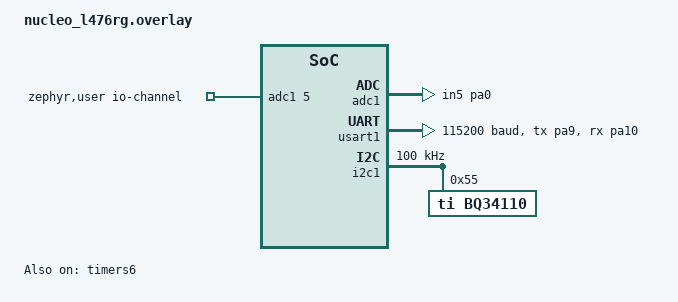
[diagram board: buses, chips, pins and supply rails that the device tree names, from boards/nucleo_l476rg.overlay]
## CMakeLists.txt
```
# SPDX-License-Identifier: Apache-2.0
cmake_minimum_required(VERSION 3.20.0)

# SD card bus: native SDMMC interface default (or spi if overridden: -DSD_BUS=spi)
set(SD_BUS "sdmmc" CACHE STRING "SD card bus: spi or sdmmc")
option(FORMAT_SD_CARD "Build one-shot SD exFAT formatter instead of recorder" OFF)

string(REPLACE "/" "_" BOARD_FLAT "${BOARD}")
set(SD_OVERLAY ${CMAKE_CURRENT_SOURCE_DIR}/sd/${SD_BUS}_${BOARD_FLAT}.overlay)
if(NOT EXISTS ${SD_OVERLAY})
  # Zephyr 4.x qualified board targets append the SoC qualifier, while this
  # application keeps the shared overlay named after the board itself.
  string(REGEX REPLACE "/.*$" "" BOARD_NAME "${BOARD}")
  set(SD_OVERLAY ${CMAKE_CURRENT_SOURCE_DIR}/sd/${SD_BUS}_${BOARD_NAME}.overlay)
endif()
if(EXISTS ${SD_OVERLAY})
  list(APPEND EXTRA_DTC_OVERLAY_FILE ${SD_OVERLAY})
else()
  message(WARNING "No SD overlay ${SD_OVERLAY}; add one or define the 'SD' disk yourself")
endif()

# Add application-local devicetree bindings (including the BQ34110 node).
list(APPEND DTS_ROOT ${CMAKE_CURRENT_SOURCE_DIR})

find_package(Zephyr REQUIRED HINTS $ENV{ZEPHYR_BASE})
project(wildsonic_stm32_recorder)

if(FORMAT_SD_CARD)
  message(WARNING "FORMAT_SD_CARD=ON: formatter firmware WILL ERASE the SD card on boot")
  target_sources(app PRIVATE src/format_sd.c)
else()
  execute_process(
    COMMAND git -C ${CMAKE_CURRENT_SOURCE_DIR}/.. rev-parse --short=12 HEAD
    OUTPUT_VARIABLE WILDSONIC_GIT_COMMIT
    OUTPUT_STRIP_TRAILING_WHITESPACE
    ERROR_QUIET
  )
  if(NOT WILDSONIC_GIT_COMMIT)
    set(WILDSONIC_GIT_COMMIT "unknown")
  endif()
  execute_process(
    COMMAND git -C ${CMAKE_CURRENT_SOURCE_DIR}/.. rev-parse --abbrev-ref HEAD
    OUTPUT_VARIABLE WILDSONIC_GIT_BRANCH
    OUTPUT_STRIP_TRAILING_WHITESPACE
    ERROR_QUIET
  )
  if(NOT WILDSONIC_GIT_BRANCH)
    set(WILDSONIC_GIT_BRANCH "unknown")
  endif()

  target_sources(app PRIVATE
    src/main.c
    src/recorder.c
    src/wav.c
    src/audio_in_stm32l4.c
    src/audio_format.c
    src/rate_check.c
    src/psram_is66wvs.c
    src/psram_staging.c
    src/dsp.c
    src/rtc_sleep.c
    src/rtc_calendar.c
    src/scheduler.c
    src/console.c
    src/config_store.c
    src/battery_monitor.c
    src/led_indicator.c
    src/ble_comm.c
    src/scheduler_retention.c
    src/solar_calculator.c
    src/sd_resilient.c
    src/sd_fault_inject.c
    src/wildsonic_trace.c
    src/retained_reboot.c
    src/system_assert.c
    src/watchdog.c
  )
  target_compile_definitions(app PRIVATE
    WILDSONIC_GIT_COMMIT=\"${WILDSONIC_GIT_COMMIT}\"
    WILDSONIC_GIT_BRANCH=\"${WILDSONIC_GIT_BRANCH}\"
  )
  target_sources_ifdef(CONFIG_WILDSONIC_BENCHMARKS app PRIVATE src/psram_benchmark.c)
  target_sources_ifdef(CONFIG_WILDSONIC_BENCHMARKS app PRIVATE src/sd_benchmark.c)
  zephyr_include_directories(src)
endif()
```

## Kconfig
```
# SPDX-License-Identifier: Apache-2.0
mainmenu "WildSonic STM32 mono recorder"

menu "Audio recorder"

config AUDIO_SRC_ADC_STM32L4
	bool "STM32L4 internal ADC: TIM6 trigger + hardware oversampling + DMA"
	default y
	depends on SOC_SERIES_STM32L4X
	select DMA
	select PINCTRL
	select USE_STM32_LL_ADC
	select USE_STM32_LL_TIM

choice AUDIO_SAMPLE_FORMAT
	prompt "Audio sample format"
	default AUDIO_SAMPLE_BITS_16

config AUDIO_SAMPLE_BITS_16
	bool "16-bit signed integer PCM (Format Tag 1)"
	help
	  Standard 16-bit signed integer PCM (2 bytes/sample). Baseline profile.
	  At 192 kHz mono, data rate is 384,000 bytes/s.

config AUDIO_SAMPLE_BITS_32
	bool "32-bit signed integer PCM (Format Tag 1)"
	help
	  32-bit signed integer PCM (4 bytes/sample).
	  At 192 kHz mono, data rate is 768,000 bytes/s.
	  Acquisition uses STM32L4 ADC (12-bit + 8x hardware oversampling = 15-bit ENOB)
	  left-aligned into signed 32-bit integer container.
endchoice

config AUDIO_SAMPLE_BITS
	int
	default 16 if AUDIO_SAMPLE_BITS_16
	default 32 if AUDIO_SAMPLE_BITS_32

config AUDIO_SAMPLE_RATE
	int "Requested sample rate (Hz)"
	default 48000
	help
	  Requested audio sample rate in Hz.
	  Default is 192,000 samples/s as required for stress testing the STM32L476
	  acquisition and storage throughput. At 192 kHz mono 16-bit PCM, the data
	  rate is 384,000 bytes/s. A 60-second WAV file contains exactly 11,520,000
	  samples (23,040,000 audio data bytes).
	  NOTE: The MAX4466 capsule frequency response is ~20 Hz to 20 kHz (audible
	  range). Sampling at 192 kHz oversamples the audible analog bandwidth.

config AUDIO_BLOCK_SAMPLES
	int "Samples per block (one DMA half-buffer / one queue item)"
	default 4096
	help
	  Block size in samples.
	  For 16-bit mono: 4096 samples * 2 bytes = 8192 bytes (16 SD sectors).
	  For 32-bit mono: 4096 samples * 4 bytes = 16384 bytes (32 SD sectors).
	  At 192 kHz, 11,520,000 samples / 4096 = exactly 2812.5 blocks for a 60-second file.

config AUDIO_NUM_BLOCKS
	int "Number of blocks in the RAM pool (the SD-stall buffer)"
	default 4 if AUDIO_SAMPLE_BITS_16
	default 2 if AUDIO_SAMPLE_BITS_32
	help
	  Buffered time = NUM_BLOCKS * BLOCK_SAMPLES / sample_rate.
	  With 4 blocks of 4096 samples at 16-bit: 32 KB pool, 85.3 ms buffer.
	  With 2 blocks of 4096 samples at 32-bit: 32 KB pool, 42.7 ms buffer.
	  Both safely fit within the 96 KB SRAM1 region without overflowing.

config AUDIO_OVERSAMPLE_LOG2
	int "ADC hardware oversampling, log2 of ratio (0 = off, 4 = 16x)"
	range 0 4
	default 3
	depends on AUDIO_SRC_ADC_STM32L4
	help
	  Hardware oversampling on STM32L4 ADC. Ratio = 2^N.
	  At 192 kHz, 8x oversampling (default 3) fits in 37.4% of the 5.2 us period.

config AUDIO_DC_BLOCK
	bool "Remove DC offset (MAX4466 output sits at VCC/2)"
	default y
	depends on AUDIO_SRC_ADC_STM32L4
	help
	  High-pass DC blocking filter: y[n] = x[n] - x[n-1] + y[n-1]*(1 - 2^-K).
	  At 192 kHz with K=10, the cutoff is ~30 Hz, safely removing the DC bias
	  without attenuating audio frequencies.

menu "DSP Noise Reduction Pipeline"

choice AUDIO_DSP_MODE
	prompt "Audio DSP Processing Pipeline Mode"
	default AUDIO_DSP_MODE_FILTERED

config AUDIO_DSP_MODE_RAW
	bool "Raw (unfiltered ADC PCM, bypasses DSP)"
	help
	  Records verbatim ADC readings with only linear scaling to signed PCM.
	  No filtering is applied. Ideal for baseline comparison, raw noise analysis,
	  and assessing hardware analog environment.

config AUDIO_DSP_MODE_FILTERED
	bool "Filtered (multi-stage low-noise DSP pipeline)"
	help
	  Enables the configurable low-noise DSP processing chain (DC blocker,
	  high-pass filter, mains notch filter, and ultrasonic low-pass filter).

endchoice

config AUDIO_DSP_DC_BLOCK
	bool "Stage 1: DC Blocker (high-pass tracking, 20 Hz)"
	default y
	help
	  Removes MAX4466 DC bias (~1.65V) and slow DC drift (< 20 Hz).

config AUDIO_DSP_HPF
	bool "Stage 2: High-Pass Filter (Butterworth HPF)"
	default y
	help
	  2nd-order Butterworth High-Pass Filter to eliminate sub-audible wind,
	  handling rumble, and sub-audio vibrations.

config AUDIO_DSP_HPF_CUTOFF_HZ
	int "HPF Cutoff Frequency (Hz)"
	default 80
	depends on AUDIO_DSP_HPF
	help
	  Cutoff frequency (-3 dB point) for the HPF stage.
	  Default 80 Hz is optimal for wildlife/voice audio; lower values (e.g. 30-50 Hz)
	  can be set if low-frequency vocalizations must be retained.

config AUDIO_DSP_NOTCH
	bool "Stage 3: Mains Hum Notch Filter"
	default n
	help
	  Narrow-band biquad notch filter to eliminate 50 Hz or 60 Hz mains interference.
	  Kept disabled by default until measured interference is confirmed.

config AUDIO_DSP_NOTCH_FREQ_HZ
	int "Mains Notch Frequency (Hz)"
	default 50
	depends on AUDIO_DSP_NOTCH
	help
	  Target notch frequency: 50 Hz (Europe/Asia) or 60 Hz (Americas).

config AUDIO_DSP_NOTCH_Q_X10
	int "Mains Notch Q factor (multiplied by 10)"
	default 100
	depends on AUDIO_DSP_NOTCH
	help
	  Quality factor Q * 10 (e.g. 100 = Q of 10.0, 150 = Q of 15.0).
	  Higher Q narrows the notch bandwidth, preserving nearby frequencies.

config AUDIO_DSP_HARMONIC_NOTCH
	bool "Stage 4: Mains Harmonic Notch Filter (2nd harmonic)"
	default n
	depends on AUDIO_DSP_NOTCH
	help
	  Narrow-band notch at 2x mains frequency (100 Hz or 120 Hz) to suppress
	  rectifier/power supply ripple.

config AUDIO_DSP_LPF
	bool "Stage 5: Low-Pass Anti-Aliasing & Ultrasonic Rejection Filter"
	default y
	help
	  4th-order (2 cascaded biquads) Butterworth Low-Pass Filter to eliminate
	  out-of-band switching noise, SDMMC digital crosstalk, and ultrasonic hash
	  beyond the MAX4466 microphone's ~20 kHz audible bandwidth.

config AUDIO_DSP_LPF_CUTOFF_HZ
	int "LPF Cutoff Frequency (Hz)"
	default 20000
	depends on AUDIO_DSP_LPF
	help
	  Passband corner frequency (-3 dB point). Default 20000 Hz.

endmenu

config AUDIO_RECORD_SECONDS
	int "Seconds to record per session"
	default 20

config AUDIO_SLEEP_SECONDS
	int "Seconds to sleep between recording sessions"
	default 60

config AUDIO_RECORD_CYCLES
	int "Number of record/sleep cycles (0 = continuous until stopped)"
	default 1

config AUDIO_PREALLOCATE_FILE
	bool "Pre-allocate audio file clusters prior to recording"
	default y
	help
	  When enabled (and if CONFIG_FS_FATFS_EXTRA_NATIVE_API is active),
	  calls FatFs f_expand() to pre-allocate contiguous clusters on exFAT,
	  preventing dynamic cluster allocation stalls during recording.

config WILDSONIC_SDMMC_CLK_DIV
	int "SDMMC clock divider"
	default 6
	range 0 16
	help
	  Clock divider for SDMMC1 on STM32L4 (48 MHz / (clk_div + 2)).
	  clk_div = 0: 24 MHz (12 MB/s bus bandwidth, high-speed production)
	  clk_div = 2: 12 MHz (6 MB/s bus bandwidth, high-speed)
	  clk_div = 6: 6 MHz (3 MB/s bus bandwidth, safe jumper-wire default)

config WILDSONIC_SD_CARD_POWER_GPIO
	bool "Optional SD card power-cycle GPIO"
	default n
	help
	  Enables a GPIO-controlled card power cycle during SD storage recovery.
	  If a matching board alias or devicetree GPIO is present, the controller
	  will drive it low for a brief reset interval before reinitializing SD.

config WILDSONIC_SD_CARD_POWER_ACTIVE_LOW
	bool "SD card power is active-low"
	default n
	depends on WILDSONIC_SD_CARD_POWER_GPIO
	help
	  Invert the generated power-control polarity for cards that assert reset
	  when GPIO is low.

config PSRAM_TEST_ENABLE
    bool "Run external ISSI IS66WVS4M8 PSRAM detection and memory test on boot"
    default y
    select USE_STM32_HAL_QSPI
    select USE_STM32_HAL_DMA
    help
      Initializes the QUADSPI peripheral and executes the bring-up and
      memory verification test for the ISSI IS66WVS4M8 PSRAM. If not detected,
      safely falls back to internal SRAM.

config AUDIO_PSRAM_STAGING
	bool "Use external ISSI IS66WVS PSRAM as circular audio staging buffer"
	default y
	depends on PSRAM_TEST_ENABLE
	help
	  Buffers processed PCM audio blocks in external PSRAM before writing
	  to the SD card in large multi-block batches. Decouples SD write latency
	  from the high-speed ADC/DMA capture path.

config AUDIO_PSRAM_BUFFER_SIZE_KB
	int "PSRAM staging buffer size in KiB"
	default 3072
	range 256 3072
	depends on AUDIO_PSRAM_STAGING
	help
	  Size of circular buffer in external PSRAM in KiB.
	  Default is 3072 KiB (3 MiB, 12 slots x 256 KiB, 75% of physical 4 MB PSRAM),
	  providing ~8.19 seconds of buffer at 192 kHz 16-bit mono and ~32.76 seconds at 48 kHz.
	  1024 KiB (1 MiB, 25%) is reserved for diagnostics and safety.

config AUDIO_SD_BATCH_SIZE_KB
	int "SD card write batch size in KiB"
	default 256
	range 32 1024
	depends on AUDIO_PSRAM_STAGING
	help
	  Size of multi-block SD card write batch in KiB. Must be a multiple of 4 KiB
	  and aligned to 512-byte sectors. Default is 256 KiB (512 sectors).

choice AUDIO_STORAGE_PIPELINE
	prompt "Audio Storage Pipeline Mode"
	default AUDIO_STORAGE_PIPELINE_PSRAM_SYNC
	depends on AUDIO_PSRAM_STAGING
	help
	  Select the storage pipeline architecture for draining PSRAM staging to SD card.

config AUDIO_STORAGE_PIPELINE_PSRAM_SYNC
	bool "Mode B: Synchronous PSRAM Read and SD Write (Production Default)"
	help
	  Performs sequential PSRAM read to internal SRAM bounce buffer followed by SDMMC write.
	  Ensures zero bus contention and zero interrupt jitter between Quad-SPI polling and
	  SDMMC interrupt-driven transfers, completely preventing SDMMC FIFO underruns.

config AUDIO_STORAGE_PIPELINE_PSRAM_ASYNC
	bool "Mode C: Asynchronous Ping-Pong PSRAM Staging"
	help
	  Uses dual SRAM ping-pong buffers with separate reader and writer threads.
endchoice

endmenu

menu "SD card formatter"

choice FORMAT_CARD_PROFILE
	prompt "Target SD card capacity profile for safety check"
	default FORMAT_CARD_32GB

config FORMAT_CARD_32GB
	bool "32 GB card profile (62,333,952 sectors x 512 bytes = ~31.9 GB)"
	help
	  Matches standard 32 GB microSD cards (such as SanDisk Ultra/Extreme 32 GB).
	  Expected sector count: 62,333,952 sectors (31,914,983,424 bytes).

config FORMAT_CARD_64GB
	bool "64 GB card profile (124,735,488 sectors x 512 bytes = ~63.9 GB)"
	help
	  Matches standard 64 GB microSDXC cards.
	  Expected sector count: 124,735,488 sectors (63,864,569,856 bytes).

config FORMAT_CARD_CUSTOM
	bool "Custom card capacity profile"
	help
	  Specify exact sector count manually via FORMAT_CUSTOM_SECTOR_COUNT.

endchoice

config FORMAT_EXPECTED_SECTOR_COUNT
	int "Expected sector count for safety validation"
	default 62333952 if FORMAT_CARD_32GB
	default 124735488 if FORMAT_CARD_64GB
	default 62333952 if FORMAT_CARD_CUSTOM

config FORMAT_CUSTOM_SECTOR_COUNT
	int "Custom expected sector count"
	default 62333952
	depends on FORMAT_CARD_CUSTOM

config FORMAT_EXPECTED_SECTOR_SIZE
	int "Expected sector size (bytes)"
	default 512

endmenu

menu "WildSonic Build Profiles"

choice WILDSONIC_BUILD_PROFILE
	prompt "WildSonic Build Profile"
	default WILDSONIC_PROFILE_PRODUCTION

config WILDSONIC_PROFILE_PRODUCTION
	bool "PRODUCTION build profile"
	help
	  Production profile for wildlife audio recorder: minimal logging, no test
	  markers, no benchmarks, watchdog enabled, LED quiet during capture.

config WILDSONIC_PROFILE_TEST
	bool "TEST build profile"
	select WILDSONIC_TEST_OUTPUT
	select WILDSONIC_TEST_MARKERS
	select WILDSONIC_TEST_BUILD
	select WILDSONIC_BENCHMARKS
	help
	  Test build profile: test markers enabled for automated host test suites
	  and per-batch SD timing reports enabled, matching production code paths.

config WILDSONIC_PROFILE_DEV
	bool "DEV build profile"
	select WILDSONIC_TEST_OUTPUT
	select WILDSONIC_TEST_MARKERS
	select WILDSONIC_VERBOSE_LOGS
	select WILDSONIC_BENCHMARKS
	help
	  Development profile: verbose logs, thread analyzer, and benchmarks enabled.

endchoice

config WILDSONIC_TEST_OUTPUT
	bool "Emit TEST console output (TRACE_TEST, per-batch stats, test markers)"
	default n
	help
	  Enables TRACE_TEST() output, [TEST] markers, [METRIC] JSON, per-batch
	  SD timing prints, and test-only console commands. Must be disabled in
	  PRODUCTION builds.

config WILDSONIC_TEST_MARKERS
	bool "Emit [TEST] and test harness markers"
	default n
	help
	  Enables [TEST], [PHASE], and automated test bench marker output. Must be
	  disabled in production builds.

config WILDSONIC_BENCHMARKS
	bool "Enable hardware benchmarks (psram bench, sdbench)"
	default n
	help
	  Enables console benchmark commands and diagnostic testing routines.

config WILDSONIC_WATCHDOG
	bool "Enable hardware watchdog (IWDG) with Stop mode safety"
	default y
	help
	  Enables hardware IWDG watchdog monitoring with Stop 2 freeze support.

config WILDSONIC_SESSION_LOG
	bool "Enable SD session.log sidecar recording"
	default y
	help
	  When enabled, writes session summary and telemetry to session.log on SD.

endmenu

config WILDSONIC_VERBOSE_LOGS
	bool "Enable verbose development and diagnostic console logs"
	default n
	help
	  When disabled (default for production firmware), console output is kept
	  minimal and quiet, suppressing startup banners, detailed PSRAM bring-up
	  matrices, per-session banners, and standby countdown messages.
	  Enable this symbol for test and engineering builds.

config WILDSONIC_TEST_BUILD
	bool "Mark firmware as a test build"
	default n
	help
	  Explicitly labels the image as test-only. Production configurations must
	  leave this disabled.

config WILDSONIC_SD_FAULT_INJECT
	bool "Enable SD Fault Injection test hooks"
	default n
	help
	  Enables fault injection for testing SDMMC retry and discard policies:
	  F1: Fail next write once (CRC).
	  F2: Fail every write for N attempts then succeed.
	  F3: Return -9 for every FatFs call until a full re-init happens.
	  F4: Fail all writes permanently (card dead).
	  F5: Fail mount for M attempts after wake.

config WAKE_FOR_SERVICE_GPIO
	bool "Optional technician wake on user button (B1 on PC13)"
	default n
	help
	  When enabled, allows a technician to interrupt long Stop 2 standby
	  by pressing user button B1 (PC13) via EXTI 13.

config SD_POWER_GPIO
	bool "Optional SD card VDD load-switch power control"
	default n
	help
	  When enabled, cycles card power via the 'sd-power' devicetree alias
	  during hardware reset recovery (100 ms off, 10 ms wait after power on).

config LOG_DEFAULT_LEVEL_WRN
	bool "Default log level WARNING"
	default n
	help
	  Sets default logging level to WARNING (2).

config LOG_DEFAULT_LEVEL_INF
	bool "Default log level INFO"
	default n
	help
	  Sets default logging level to INFO (3).

# SD over SPI must use DMA (see sd/spi_*.overlay). Only takes effect when SPI is in use.
config SPI_STM32_DMA
	default y

source "Kconfig.zephyr"
```

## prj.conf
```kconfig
CONFIG_LOG=y
CONFIG_PRINTK=y
CONFIG_ASSERT=y
CONFIG_ASSERT_MODULE_DEFAULT_LEVEL_VERBOSE=y
CONFIG_LOG_PRINTK=n
CONFIG_LOG_BUFFER_SIZE=512
CONFIG_MAIN_STACK_SIZE=4096
CONFIG_ISR_STACK_SIZE=2048
CONFIG_MPU_STACK_GUARD=y
CONFIG_I2C=y
CONFIG_AUDIO_BLOCK_SAMPLES=4096
CONFIG_AUDIO_NUM_BLOCKS=4
CONFIG_LOG_PROCESS_THREAD=n
CONFIG_LOG_BACKEND_UART=n
CONFIG_LOG_OUTPUT=y
CONFIG_SPEED_OPTIMIZATIONS=y
CONFIG_FPU=y
CONFIG_FPU_SHARING=y
CONFIG_CMSIS_DSP=y
CONFIG_CMSIS_DSP_LOOPUNROLL=y
CONFIG_INIT_STACKS=y

# SD card + exFAT and FAT32 filesystem support (FatFs ELM)
CONFIG_DISK_ACCESS=y
CONFIG_FILE_SYSTEM=y
CONFIG_FAT_FILESYSTEM_ELM=y
CONFIG_FS_FATFS_EXFAT=y
CONFIG_FS_FATFS_EXTRA_NATIVE_API=y
CONFIG_AUDIO_PREALLOCATE_FILE=y

CONFIG_DMA=y

# NEVER auto-format a card that fails to mount (safety protection)
CONFIG_FS_FATFS_MOUNT_MKFS=n
CONFIG_FS_FATFS_MKFS=n

CONFIG_BOOT_BANNER=n
CONFIG_REBOOT=y

# Flash driver and fixed storage partition support for configuration persistence
CONFIG_FLASH=y
CONFIG_FLASH_PAGE_LAYOUT=y
CONFIG_FLASH_MAP=y

# Asynchronous Interrupt-Driven Console UART and Ring Buffer
CONFIG_SERIAL=y
CONFIG_UART_INTERRUPT_DRIVEN=y
CONFIG_RING_BUFFER=y

CONFIG_SDMMC_LOG_LEVEL_WRN=y
CONFIG_DISK_LOG_LEVEL_WRN=y
CONFIG_FS_LOG_LEVEL_WRN=y
CONFIG_LOG_DEFAULT_LEVEL=2

# External PSRAM Audio Staging (75% allocation = 3 MB / 12 slots x 256 KB)
CONFIG_AUDIO_PSRAM_BUFFER_SIZE_KB=3072
CONFIG_AUDIO_SD_BATCH_SIZE_KB=256

# Runtime 8 MHz SDMMC clock (48 MHz / (4 + 2)) matching primary baseline
CONFIG_WILDSONIC_SDMMC_CLK_DIV=4

# WildSonic Build Profile: PRODUCTION baseline
CONFIG_WILDSONIC_PROFILE_PRODUCTION=y
CONFIG_WILDSONIC_TEST_OUTPUT=n
CONFIG_WILDSONIC_TEST_MARKERS=n
CONFIG_WILDSONIC_VERBOSE_LOGS=n
CONFIG_THREAD_ANALYZER=n
CONFIG_THREAD_ANALYZER_USE_PRINTK=n
CONFIG_WILDSONIC_BENCHMARKS=n
CONFIG_WILDSONIC_WATCHDOG=y
CONFIG_WILDSONIC_SESSION_LOG=y
CONFIG_I2C_LOG_LEVEL_OFF=y
```

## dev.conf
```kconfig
# SPDX-License-Identifier: Apache-2.0
# WildSonic Development Build Configuration Fragment
# Enables verbose console logging, thread analyzer, benchmarks, and engineering diagnostics.

CONFIG_WILDSONIC_PROFILE_DEV=y
CONFIG_WILDSONIC_TEST_OUTPUT=y
CONFIG_WILDSONIC_TEST_MARKERS=y
CONFIG_WILDSONIC_VERBOSE_LOGS=y
CONFIG_WILDSONIC_BENCHMARKS=y
CONFIG_THREAD_ANALYZER=y
CONFIG_THREAD_ANALYZER_USE_PRINTK=y
CONFIG_LOG_DEFAULT_LEVEL=3
CONFIG_LOG_DEFAULT_LEVEL_INF=y
CONFIG_SDMMC_LOG_LEVEL_INF=y
CONFIG_DISK_LOG_LEVEL_INF=y
CONFIG_FS_LOG_LEVEL_INF=y
CONFIG_WILDSONIC_SD_FAULT_INJECT=y
```

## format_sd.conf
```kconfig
# Configuration for explicit one-shot exFAT formatting.
CONFIG_PRINTK=y
CONFIG_DISK_ACCESS=y
CONFIG_FILE_SYSTEM=y
CONFIG_FAT_FILESYSTEM_ELM=y
CONFIG_FILE_SYSTEM_MKFS=y
CONFIG_FS_FATFS_MKFS=y
# Keep automatic formatting on mount failure disabled.
CONFIG_FS_FATFS_MOUNT_MKFS=n
# Enable exFAT support in FatFs engine.
CONFIG_FS_FATFS_EXFAT=y
# Target 32 GB card profile by default (62,333,952 sectors x 512 bytes = ~31.9 GB)
CONFIG_FORMAT_CARD_32GB=y
```

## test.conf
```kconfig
# SPDX-License-Identifier: Apache-2.0
# WildSonic Test / Engineering Build Configuration Fragment
# Enables verbose console logging, SDMMC/disk/FS diagnostics, batch statistics, and test markers.

CONFIG_WILDSONIC_PROFILE_TEST=y
CONFIG_WILDSONIC_TEST_OUTPUT=y
CONFIG_WILDSONIC_TEST_MARKERS=y
CONFIG_WILDSONIC_VERBOSE_LOGS=n
CONFIG_WILDSONIC_TEST_BUILD=y
CONFIG_WILDSONIC_BENCHMARKS=y
CONFIG_LOG_DEFAULT_LEVEL=3
CONFIG_LOG_DEFAULT_LEVEL_INF=y
CONFIG_SDMMC_LOG_LEVEL_INF=y
CONFIG_DISK_LOG_LEVEL_INF=y
CONFIG_FS_LOG_LEVEL_INF=y

CONFIG_WILDSONIC_SD_FAULT_INJECT=y
```

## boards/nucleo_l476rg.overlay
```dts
/*
 * Board-specific audio wiring for NUCLEO-L476RG.
 * Everything pin/peripheral related for the audio input is here, nothing in C.
 *
 *   MAX4466 OUT -> PA0 (Arduino A0, ADC1_IN5)
 *   TIM6 TRGO   -> ADC1 external trigger (sample clock)
 *   DMA1 ch1    -> ADC1 (request 0), circular, 16-bit
 */
#include <zephyr/dt-bindings/dma/stm32_dma.h>
#include <zephyr/dt-bindings/i2c/i2c.h>

/ {
	zephyr,user {
		io-channels = <&adc1 5>;
		dmas = <&dma1 1 0 (STM32_DMA_PERIPH_RX | STM32_DMA_PRIORITY_VERY_HIGH |
				   STM32_DMA_PERIPH_16BITS | STM32_DMA_MEM_16BITS |
				   STM32_DMA_MODE_CYCLIC)>;
		dma-names = "audio_rx";
	};
};

&adc1 {
	pinctrl-0 = <&adc1_in5_pa0>;
	pinctrl-names = "default";
};

&dma1 {
	status = "okay";
};

&pll {
	div-m = <1>;
	mul-n = <18>;
	div-r = <4>;
	div-q = <6>;
	clocks = <&clk_hsi>;
	status = "okay";
};

&rcc {
	clocks = <&pll>;
	clock-frequency = <DT_FREQ_M(72)>;
	ahb-prescaler = <1>;
	apb1-prescaler = <1>;
	apb2-prescaler = <1>;
};

&timers6 {
	status = "okay";
};

&usart1 {
	pinctrl-0 = <&usart1_tx_pa9 &usart1_rx_pa10>;
	pinctrl-names = "default";
	current-speed = <115200>;
	status = "okay";
};

/* NUCLEO-L476RG native I2C1 pinctrl is PB8/PB9 (AF4). */
&i2c1 {
	clock-frequency = <I2C_BITRATE_STANDARD>;
	zephyr,transfer-timeout-ms = <100>;
	status = "okay";

	bq34110: battery-gauge@55 {
		compatible = "ti,bq34110";
		reg = <0x55>;
		status = "okay";
	};
};
```

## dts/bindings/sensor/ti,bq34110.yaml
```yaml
description: Texas Instruments BQ34110 battery fuel gauge

compatible: "ti,bq34110"

include: i2c-device.yaml

properties:
  reg:
    required: true
```

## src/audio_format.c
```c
/* SPDX-License-Identifier: Apache-2.0 */
#include "audio_format.h"
#include <errno.h>
#include <string.h>

int audio_format_init(struct audio_config_model *model,
                      uint32_t sample_rate_hz,
                      uint16_t channel_count,
                      uint16_t sample_bits,
                      uint32_t block_samples)
{
	if (!model) {
		return -EINVAL;
	}

	memset(model, 0, sizeof(*model));

	/* Validate discrete sample rates */
	if (sample_rate_hz != 16000 && sample_rate_hz != 32000 && sample_rate_hz != 44100 &&
	    sample_rate_hz != 48000 && sample_rate_hz != 96000 && sample_rate_hz != 192000 &&
	    sample_rate_hz != 384000 && sample_rate_hz != 512000) {
		return -EINVAL;
	}

	/* Validate channel count: 1 (Mono) or 2 (Stereo) */
	if (channel_count != 1 && channel_count != 2) {
		return -EINVAL;
	}

	/* Validate container bit width: 16-bit or 32-bit */
	if (sample_bits != 16 && sample_bits != 32) {
		return -EINVAL;
	}

	/* Default block size if zero */
	if (block_samples == 0) {
		block_samples = 4096U;
	}

	model->sample_rate_hz = sample_rate_hz;
	model->channel_count = channel_count;
	model->sample_bits = sample_bits;
	model->bytes_per_sample = sample_bits / 8U;
	model->bytes_per_frame = channel_count * model->bytes_per_sample;
	model->encoding = (sample_bits == 32) ? AUDIO_ENCODING_PCM_S32_LE : AUDIO_ENCODING_PCM_S16_LE;

	/* Physical resolution baseline */
	model->adc_native_resolution = 12U; /* STM32L4 native SAR 12-bit */
	model->effective_enob_bits = (sample_bits == 32) ? 15U : 12U;

	/* Stream bandwidth and block sizing with 64-bit overflow prevention */
	uint64_t rate_bps = (uint64_t)sample_rate_hz * model->bytes_per_frame;
	if (rate_bps > UINT32_MAX) {
		return -EOVERFLOW;
	}
	model->bytes_per_second = (uint32_t)rate_bps;

	model->block_samples_per_ch = block_samples;
	uint64_t blk_bytes = (uint64_t)block_samples * model->bytes_per_frame;
	if (blk_bytes > UINT32_MAX) {
		return -EOVERFLOW;
	}
	model->block_bytes = (uint32_t)blk_bytes;

	model->block_duration_us = (uint32_t)(((uint64_t)block_samples * 1000000ULL) / sample_rate_hz);

	/* Spectral and filter limits */
	model->nyquist_freq_hz = sample_rate_hz / 2U;
	model->dsp_max_cutoff_hz = (model->nyquist_freq_hz * 90U) / 100U; /* 90% Nyquist margin */
	model->analog_front_end_bw_hz = 20000U; /* MAX4466 microphone capsule limit */

	/* Assess STM32L476RG Hardware Tier */
	if (channel_count > 1) {
		model->tier_l4 = AUDIO_TIER_FUTURE_HARDWARE;
		model->support_notes = "Stereo unsupported on STM32L4 board: single ADC input (PA0/ADC1_IN5) wired to mono MAX4466; requires dual ADC or external codec.";
	} else if (sample_rate_hz > 192000U) {
		model->tier_l4 = AUDIO_TIER_REPRESENTABLE_ONLY;
		model->support_notes = "Rate exceeds STM32L4 oversampling budget (8x oversampling requires >85% of period) and has fractional TIM6 reload divider at 72 MHz.";
	} else {
		model->tier_l4 = AUDIO_TIER_CURRENT_HARDWARE;
		model->support_notes = "Fully supported on current STM32L476RG + internal ADC1 + TIM6 TRGO + DMA.";
	}

	/* Assess STM32U585 Hardware Tier */
	/* U585 has 160 MHz clock, 2.5 Msps 14-bit ADC, dual ADCs for simultaneous stereo, and MDF/ADF digital filters */
	model->tier_u5 = AUDIO_TIER_CURRENT_HARDWARE;

	return 0;
}

bool audio_format_is_representable(const struct audio_config_model *model)
{
	if (!model || model->sample_rate_hz == 0 || model->channel_count == 0 || model->bytes_per_frame == 0) {
		return false;
	}
	return (model->tier_l4 != AUDIO_TIER_INVALID);
}

bool audio_format_is_supported_current_hw(const struct audio_config_model *model)
{
	if (!model) return false;
	return (model->tier_l4 == AUDIO_TIER_CURRENT_HARDWARE);
}

bool audio_format_is_supported_u5(const struct audio_config_model *model)
{
	if (!model) return false;
	return (model->tier_u5 == AUDIO_TIER_CURRENT_HARDWARE);
}

int audio_format_calc_wav_accounting(const struct audio_config_model *model,
                                     uint32_t duration_sec,
                                     uint64_t *out_samples,
                                     uint64_t *out_payload_bytes,
                                     uint64_t *out_total_wav_bytes)
{
	if (!model || duration_sec == 0) {
		return -EINVAL;
	}

	uint64_t total_frames = (uint64_t)duration_sec * model->sample_rate_hz;
	uint64_t total_samples = total_frames * model->channel_count;
	uint64_t payload_bytes = total_frames * model->bytes_per_frame;
	uint64_t total_wav_bytes = 512ULL + payload_bytes; /* 512-byte sector aligned WAV header */

	/* Check 4GB limit for standard 32-bit RIFF/WAV header */
	if (total_wav_bytes > 0xFFFFFFFFULL) {
		return -EFBIG;
	}

	if (out_samples) *out_samples = total_samples;
	if (out_payload_bytes) *out_payload_bytes = payload_bytes;
	if (out_total_wav_bytes) *out_total_wav_bytes = total_wav_bytes;

	return 0;
}

int audio_format_validate_filter_cutoff(const struct audio_config_model *model,
                                        uint32_t cutoff_hz,
                                        bool is_lpf)
{
	if (!model || cutoff_hz == 0) {
		return -EINVAL;
	}

	if (cutoff_hz >= model->nyquist_freq_hz) {
		return -ERANGE; /* Exceeds Nyquist limit */
	}

	if (is_lpf && cutoff_hz > model->dsp_max_cutoff_hz) {
		return -ERANGE; /* Exceeds safe 90% Nyquist margin for biquad filter stability */
	}

	return 0;
}

bool audio_format_is_experimental(uint32_t rate_hz, uint16_t channels, uint16_t bits)
{
	return (rate_hz > 192000U || channels > 1U || bits > 16U);
}
```

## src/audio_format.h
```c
/* SPDX-License-Identifier: Apache-2.0 */
#ifndef AUDIO_FORMAT_H_
#define AUDIO_FORMAT_H_

#include <stdint.h>
#include <stdbool.h>
#include <stddef.h>

#ifdef __cplusplus
extern "C" {
#endif

/**
 * @brief Canonical Audio Sample Rates (samples per second per channel).
 */
#define AUDIO_RATE_48K   48000U
#define AUDIO_RATE_96K   96000U
#define AUDIO_RATE_192K 192000U
#define AUDIO_RATE_384K 384000U
#define AUDIO_RATE_512K 512000U

/**
 * @brief Physical hardware and file-format support tiers.
 */
enum audio_support_tier {
	AUDIO_TIER_INVALID = 0,             /* Mathematically impossible or illegal parameters */
	AUDIO_TIER_REPRESENTABLE_ONLY = 1,  /* Valid WAV container, but not feasible on current board hardware */
	AUDIO_TIER_FUTURE_HARDWARE = 2,     /* Planned for future platform (STM32U585, external ADC / I2S) */
	AUDIO_TIER_CURRENT_HARDWARE = 3,    /* Fully supported and executable on current STM32L476RG + internal ADC */
};

/**
 * @brief PCM Stored Format Encoding.
 */
enum audio_pcm_encoding {
	AUDIO_ENCODING_PCM_S16_LE = 1,      /* 16-bit signed integer little-endian (WAV Format Tag 1) */
	AUDIO_ENCODING_PCM_S32_LE = 2,      /* 32-bit signed integer little-endian (WAV Format Tag 1) */
};

/**
 * @brief Convert 16-bit signed PCM sample to 32-bit signed PCM container.
 *
 * Elimination of Undefined Behavior:
 * Shifting a signed negative integer left is undefined behavior in ISO C99/C11.
 * This implementation casts to uint32_t first to perform well-defined unsigned bitwise shift,
 * then converts to int32_t, perfectly placing the 16 audio bits into MSBs [31:16]
 * and zeroing LSBs [15:0].
 *
 * Range mapping:
 *   -32768 (0x8000) -> -2147483648 (0x80000000)
 *        0 (0x0000) ->           0 (0x00000000)
 *   +32767 (0x7FFF) -> +2147418112 (0x7FFF0000)
 *
 * Note: A 32-bit container holding converted 12-bit ADC data provides standard 32-bit
 * container compatibility for DAW/analysis software, but DOES NOT increase physical
 * ADC resolution or SNR beyond the hardware limits.
 */
static inline int32_t audio_pcm16_to_pcm32(int16_t s16)
{
	return (int32_t)((uint32_t)(int32_t)s16 << 16);
}

/**
 * @brief Convert 32-bit signed PCM container back to 16-bit signed PCM.
 */
static inline int16_t audio_pcm32_to_pcm16(int32_t s32)
{
	return (int16_t)((int32_t)s32 >> 16);
}

/**
 * @brief Convert native unsigned ADC code (12-bit native or oversampled) to signed 16-bit PCM.
 *
 * @param raw Unsigned ADC conversion result (0 to max_raw).
 * @param lshift Left-shift required to align ADC bits to 16-bit range (16 - ADC_BITS).
 * @return Signed 16-bit sample clamped to [-32768, 32767].
 */
static inline int16_t audio_adc_raw_to_pcm16(uint32_t raw, uint32_t lshift)
{
	int32_t x = ((int32_t)raw << lshift) - 32768;
	if (x > 32767) {
		x = 32767;
	} else if (x < -32768) {
		x = -32768;
	}
	return (int16_t)x;
}

/**
 * @brief Convert native unsigned ADC code directly to 32-bit signed PCM container.
 */
static inline int32_t audio_adc_raw_to_pcm32(uint32_t raw, uint32_t lshift)
{
	int16_t s16 = audio_adc_raw_to_pcm16(raw, lshift);
	return audio_pcm16_to_pcm32(s16);
}

/**
 * @brief Hardware-independent audio configuration model.
 */
struct audio_config_model {
	/* Core format parameters */
	uint32_t sample_rate_hz;            /* Samples per second per channel (e.g. 48000, 192000, 512000) */
	uint16_t channel_count;             /* 1 = Mono, 2 = Stereo */
	uint16_t sample_bits;               /* Container width in bits: 16 or 32 */
	uint16_t bytes_per_sample;          /* sample_bits / 8 */
	uint16_t bytes_per_frame;           /* channel_count * bytes_per_sample */
	enum audio_pcm_encoding encoding;   /* PCM encoding standard */

	/* Physical acquisition parameters */
	uint16_t adc_native_resolution;     /* Hardware ADC resolution (12-bit on L4, 14-bit on U5) */
	uint16_t effective_enob_bits;       /* Effective bits with oversampling (e.g. 15-bit on L4 with 8x oversampling) */

	/* Streaming and buffer sizing */
	uint32_t bytes_per_second;          /* Decimal B/s: sample_rate_hz * bytes_per_frame */
	uint32_t block_samples_per_ch;      /* Samples per channel per processing block (e.g. 4096) */
	uint32_t block_bytes;               /* Bytes per block across all channels */
	uint32_t block_duration_us;         /* Duration of one block in microseconds */

	/* Spectral and DSP filter constraints */
	uint32_t nyquist_freq_hz;           /* sample_rate_hz / 2 */
	uint32_t dsp_max_cutoff_hz;         /* Maximum valid low-pass cutoff (must be strictly < nyquist) */
	uint32_t analog_front_end_bw_hz;    /* Usable acoustic bandwidth of microphone (e.g. 20000 Hz for MAX4466) */

	/* Platform portability assessment */
	enum audio_support_tier tier_l4;    /* Support status on current STM32L476RG board */
	enum audio_support_tier tier_u5;    /* Support status on target STM32U585 board */
	const char *support_notes;          /* Human-readable feasibility assessment */
};

/**
 * @brief Initialize and validate an audio configuration model.
 *
 * @param model Output configuration model struct.
 * @param sample_rate_hz Desired sampling rate (e.g. 48000, 96000, 192000, 384000, 512000).
 * @param channel_count 1 (Mono) or 2 (Stereo).
 * @param sample_bits 16 or 32.
 * @param block_samples Samples per channel per block (e.g. 4096).
 * @return 0 on success, negative errno on invalid parameter combination.
 */
int audio_format_init(struct audio_config_model *model,
                      uint32_t sample_rate_hz,
                      uint16_t channel_count,
                      uint16_t sample_bits,
                      uint32_t block_samples);

/**
 * @brief Check if a configuration model represents a valid file format.
 */
bool audio_format_is_representable(const struct audio_config_model *model);

/**
 * @brief Check if a configuration model is supported by the current STM32L476RG board.
 */
bool audio_format_is_supported_current_hw(const struct audio_config_model *model);

/**
 * @brief Check if a configuration model is supported by the target STM32U585 board.
 */
bool audio_format_is_supported_u5(const struct audio_config_model *model);

/**
 * @brief Calculate exact WAV accounting (samples, raw PCM payload bytes, and total file size).
 *
 * Safe against 32-bit arithmetic overflow using 64-bit calculations.
 *
 * @param model Configured audio model.
 * @param duration_sec Recording duration in seconds.
 * @param out_samples Total samples across all channels.
 * @param out_payload_bytes Total PCM audio payload bytes.
 * @param out_total_wav_bytes Total WAV file bytes including 512-byte aligned header.
 * @return 0 on success, -EINVAL on invalid parameter or duration.
 */
int audio_format_calc_wav_accounting(const struct audio_config_model *model,
                                     uint32_t duration_sec,
                                     uint64_t *out_samples,
                                     uint64_t *out_payload_bytes,
                                     uint64_t *out_total_wav_bytes);

/**
 * @brief Validate whether a requested DSP filter cutoff is valid for this configuration.
 *
 * Enforces that:
 * 1. Cutoff is strictly below the Nyquist frequency (sample_rate / 2).
 * 2. Cutoff does not exceed physical analog microphone limits without ultrasonic warning.
 *
 * @param model Configured audio model.
 * @param cutoff_hz Requested filter cutoff in Hz.
 * @param is_lpf True if low-pass filter, false if high-pass filter.
 * @return 0 if valid, -ERANGE if exceeds Nyquist, -EINVAL on illegal parameter.
 */
int audio_format_validate_filter_cutoff(const struct audio_config_model *model,
                                        uint32_t cutoff_hz,
                                        bool is_lpf);

/**
 * @brief Determine if an audio configuration is an experimental test-only mode.
 *
 * An experimental mode is defined as any configuration with:
 * - Sampling rate > 192000 Hz (e.g. 384 kHz, 512 kHz)
 * - Channel count > 1 (e.g. Stereo emulation)
 * - Container width > 16 bits (e.g. 32-bit PCM)
 *
 * @param rate_hz Effective or requested sampling rate in Hz.
 * @param channels Number of audio channels.
 * @param bits Stored bits per sample container width.
 * @return true if experimental test-only configuration, false if production-standard.
 */
bool audio_format_is_experimental(uint32_t rate_hz, uint16_t channels, uint16_t bits);

#ifdef __cplusplus
}
#endif

#endif /* AUDIO_FORMAT_H_ */
```

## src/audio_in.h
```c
/* SPDX-License-Identifier: Apache-2.0 */
#ifndef AUDIO_IN_H_
#define AUDIO_IN_H_

#include <errno.h>
#include <stdbool.h>
#include <stdint.h>

#define AUDIO_DMA_EVENT_QUEUE_DEPTH 4U

/*
 * Audio-input backend interface (same role as w_hal_i2s_* in the MAX78000
 * firmware). One backend per chip family / input type:
 *   audio_in_synth.c      - software sine, any board
 *   audio_in_stm32l4.c    - L4 internal ADC (TIM trigger + oversampling + DMA)
 *   (later) audio_in_stm32u5.c, audio_in_i2s.c (external ADC via Zephyr I2S API)
 *
 * Output format is signed PCM (16-bit or 32-bit depending on CONFIG_AUDIO_SAMPLE_BITS),
 * CONFIG_AUDIO_BLOCK_SAMPLES per block.
 */

struct audio_sink {
	/* Return an empty block, or NULL if the pool is exhausted (caller counts a drop).
	 * Called from the acquisition thread: must not wait indefinitely. */
	void *(*alloc)(void *user);
	/* Return an allocated block that was not submitted. */
	void (*release)(void *block, void *user);
	/* Hand a filled block to the writer. */
	int (*submit)(void *block, void *user);
	void *user;
};

/* Diagnostics reported by acquisition backend */
struct audio_diag {
	uint32_t total_samples;
	uint32_t total_blocks;
	uint16_t raw_min;
	uint16_t raw_max;
	uint32_t raw_midpoint;        /* Estimated DC midpoint in raw ADC units */
	uint32_t raw_rms_code;        /* RMS including DC in unshifted ADC codes */
	uint32_t raw_ac_rms_code;     /* AC RMS after subtracting mean, in ADC codes */
	uint32_t clipping_low_count;  /* Samples hitting ground / zero code */
	uint32_t clipping_high_count; /* Samples hitting full-scale code */
	uint32_t peak_to_peak;        /* raw_max - raw_min */
	uint32_t actual_rate;         /* Measured hardware sample rate */
	uint32_t raw_rms_mv;          /* AC RMS amplitude in millivolts */
	int32_t raw_rms_dbfs_x10;     /* AC RMS relative to full-scale sine RMS, dBFS * 10 */
};

struct audio_dma_stats {
	uint32_t callback_errors;
	uint32_t adc_overruns;
	uint32_t callbacks;
	uint64_t callback_interval_min_cycles;
	uint64_t callback_interval_avg_cycles;
	uint64_t callback_interval_max_cycles;
	uint64_t callback_exec_min_cycles;
	uint64_t callback_exec_avg_cycles;
	uint64_t callback_exec_max_cycles;
	uint32_t events_missed;
	uint64_t samples_acquired;
	uint32_t samples_accounted;
	uint32_t samples_processed;
	uint32_t samples_lost;
	uint32_t acquisition_max_latency_cycles;
	uint32_t acquisition_process_avg_cycles;
	uint32_t acquisition_process_max_cycles;
	uint32_t event_queue_high_water;
	uint32_t dma_queue_full_drops;
	uint32_t slab_alloc_drops;
	uint32_t half_unstable_drops;
	uint32_t half_overwritten_drops;
	uint32_t queue_submit_drops;
	uint32_t worker_deadline_drops;
	uint32_t boundary_discarded_samples;
};

/* Configure hardware. Returns 0 or a negative errno. */
int audio_in_init(uint32_t requested_rate_hz, const struct audio_sink *sink);

/* Rate the hardware really runs at (integer timer divider), valid after init. */
uint32_t audio_in_rate(void);

/* Runtime sample rate reconfiguration (supported: 16k, 32k, 44.1k, 48k, 96k, 192k) */
int audio_in_set_rate(uint32_t new_rate_hz);
bool audio_in_is_rate_supported(uint32_t rate_hz, uint32_t *act_rate, uint32_t *divider, int *error_hz);

/* Requested rate before hardware timer truncation / rounding */
uint32_t audio_in_requested_rate(void);

/**
 * @brief Capture source mode selection.
 */
enum audio_capture_source {
	AUDIO_SRC_PHYSICAL_MIC = 0,     /* Physical analog microphone input (MAX4466) */
	AUDIO_SRC_STEREO_DUPLICATE = 1, /* Real mono ADC capture duplicated to stereo channels */
	AUDIO_SRC_SYNTHETIC = 2         /* TEST synthetic deterministic sample source */
};

void audio_in_set_capture_source(enum audio_capture_source src);
enum audio_capture_source audio_in_get_capture_source(void);
uint32_t audio_in_get_ovs_ratio(void);

/* Select block size while capture is stopped. */
int audio_in_set_block_size(uint32_t samples);

/* Select runtime sample format (16 or 32 bits, 1 or 2 channels) while stopped. */
int audio_in_set_output_format(uint16_t bits, uint16_t channels);

/* Effective ADC ENOB derived from active hardware oversampling ratio (12..16). */
uint32_t audio_in_get_effective_adc_bits(void);

/* Measure unused bytes on acquisition thread stack (returns 0 on success). */
int audio_in_get_stack_free(size_t *total_bytes, size_t *unused_bytes);

int audio_in_start(void);
int audio_in_stop(void);
int audio_in_verify_ready(void);
void audio_in_log_boot_status(void);

/* Check whether audio DMA is actively running */
bool audio_in_is_dma_active(void);

/* Check whether acquisition worker is processing or has pending events */
bool audio_in_is_worker_active(void);

/* Retrieve diagnostics snapshot */
void audio_in_get_diag(struct audio_diag *diag);

/* Reset diagnostics accumulators */
void audio_in_reset_diag(void);

/* Get callback counts for DMA HT and TC interrupts */
void audio_in_get_callback_counts(uint32_t *ht_count, uint32_t *tc_count);
void audio_in_get_dma_stats(struct audio_dma_stats *stats);
uint32_t audio_in_get_missed_event_count(void);
uint64_t audio_in_get_source_samples(void);

#endif
```

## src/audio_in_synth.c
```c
/* SPDX-License-Identifier: Apache-2.0 */
/*
 * Synthetic source: paces itself like a real ADC (one block every
 * BLOCK_SAMPLES / rate seconds) so SD throughput and buffer sizing can be
 * tested before any analog hardware is attached.
 */
#include <math.h>
#include <zephyr/kernel.h>
#include <zephyr/logging/log.h>
#include "audio_in.h"

LOG_MODULE_REGISTER(audio_synth, LOG_LEVEL_INF);

#define BLOCK CONFIG_AUDIO_BLOCK_SAMPLES
#define DIAG_BLOCK CONFIG_AUDIO_DIAGNOSTIC_BLOCK_SAMPLES
#define TABLE 1024

#if CONFIG_AUDIO_SAMPLE_BITS == 32
static int32_t sine_tab[TABLE];
#else
static int16_t sine_tab[TABLE];
#endif

static const struct audio_sink *sink;
static uint32_t rate;
static uint32_t active_block_samples = BLOCK;
static volatile bool running;
static struct k_thread thr;
static K_THREAD_STACK_DEFINE(thr_stack, 1024);

static void gen_thread(void *a, void *b, void *c)
{
	uint32_t phase = 0;
	const uint32_t step = (uint32_t)(((uint64_t)CONFIG_AUDIO_SYNTH_TONE_HZ << 32) / rate);
	const int64_t t0 = k_uptime_ticks();
	uint64_t n = 0;

	while (running) {
		void *raw_blk = sink->alloc(sink->user);

		if (raw_blk) {
#if CONFIG_AUDIO_SAMPLE_BITS == 32
			int32_t *blk = (int32_t *)raw_blk;
#else
			int16_t *blk = (int16_t *)raw_blk;
#endif
			for (uint32_t i = 0; i < active_block_samples; i++) {
				blk[i] = sine_tab[phase >> 22];	/* top 10 bits */
				phase += step;
			}
			sink->submit(raw_blk, sink->user);
		} else {
			phase += step * active_block_samples;
		}
		n++;
		/* absolute schedule computed from the block count: no drift */
		int64_t due = t0 + k_us_to_ticks_near64((n * active_block_samples * 1000000ULL) / rate);

		k_sleep(K_TIMEOUT_ABS_TICKS(due));
	}
}

int audio_in_init(uint32_t requested_rate_hz, const struct audio_sink *s)
{
	sink = s;
	rate = requested_rate_hz;
	for (int i = 0; i < TABLE; i++) {
#if CONFIG_AUDIO_SAMPLE_BITS == 32
		sine_tab[i] = (int32_t)(1000000000.0f * sinf(2.0f * 3.14159265f * i / TABLE));
#else
		sine_tab[i] = (int16_t)(16000.0f * sinf(2.0f * 3.14159265f * i / TABLE));
#endif
	}
	LOG_INF("synthetic source: %d Hz tone, %u Hz (%u-bit PCM)",
		CONFIG_AUDIO_SYNTH_TONE_HZ, rate, CONFIG_AUDIO_SAMPLE_BITS);
	return 0;
}

uint32_t audio_in_rate(void)
{
	return rate;
}

bool audio_in_is_rate_supported(uint32_t rate_hz, uint32_t *act_rate, uint32_t *divider, int *error_hz)
{
	if (rate_hz == 16000 || rate_hz == 32000 || rate_hz == 44100 ||
	    rate_hz == 48000 || rate_hz == 96000 || rate_hz == 192000) {
		if (act_rate) *act_rate = rate_hz;
		if (divider) *divider = 1;
		if (error_hz) *error_hz = 0;
		return true;
	}
	return false;
}

int audio_in_set_rate(uint32_t new_rate_hz)
{
	if (running) {
		return -EBUSY;
	}
	if (!audio_in_is_rate_supported(new_rate_hz, NULL, NULL, NULL)) {
		return -EINVAL;
	}
	rate = new_rate_hz;
	return 0;
}

int audio_in_set_block_size(uint32_t samples)
{
	if (running) {
		return -EBUSY;
	}
	if (samples != BLOCK && samples != DIAG_BLOCK) {
		return -EINVAL;
	}
	active_block_samples = samples;
	return 0;
}

#if CONFIG_AUDIO_INTEGRITY_REPLAY
int audio_in_set_integrity_replay(bool enabled)
{
	ARG_UNUSED(enabled);
	return -ENOTSUP;
}
#endif

static volatile uint32_t synth_total_samples;
static volatile uint32_t synth_total_blocks;

int audio_in_start(void)
{
	running = true;
	k_thread_create(&thr, thr_stack, K_THREAD_STACK_SIZEOF(thr_stack), gen_thread,
			NULL, NULL, NULL, K_PRIO_COOP(2), 0, K_NO_WAIT);
	return 0;
}

int audio_in_stop(void)
{
	running = false;
	k_thread_join(&thr, K_SECONDS(1));
	return 0;
}

void audio_in_reset_diag(void)
{
	synth_total_samples = 0;
	synth_total_blocks = 0;
}

void audio_in_get_diag(struct audio_diag *diag)
{
	diag->total_samples = synth_total_samples;
	diag->total_blocks = synth_total_blocks;
	diag->raw_min = 16384 - 8000;
	diag->raw_max = 16384 + 8000;
	diag->raw_midpoint = 16384;
	diag->clipping_low_count = 0;
	diag->clipping_high_count = 0;
	diag->peak_to_peak = 16000;
	diag->actual_rate = rate;
	diag->raw_rms_code = 0;
	diag->raw_ac_rms_code = 0;
	diag->raw_rms_mv = 0;
	diag->raw_rms_dbfs_x10 = -960;
}

int audio_in_run_diagnostic(uint32_t seconds)
{
	printk("Synthetic diagnostic mode running for %u seconds at %u Hz...\n", seconds, rate);
	audio_in_start();
	for (uint32_t i = 1; i <= seconds; i++) {
		k_sleep(K_SECONDS(1));
		printk("  [t=%u s] Generating %d Hz sine tone at %u Hz\n",
		       i, CONFIG_AUDIO_SYNTH_TONE_HZ, rate);
	}
	audio_in_stop();
	return 0;
}

void audio_in_dump_registers(void)
{
	printk("  [SYNTHETIC SOURCE] Clock & rate: %u Hz, synthetic generator thread\n", rate);
}

void audio_in_get_callback_counts(uint32_t *ht_count, uint32_t *tc_count)
{
	if (ht_count) *ht_count = 0;
	if (tc_count) *tc_count = 0;
}

void audio_in_get_dma_stats(struct audio_dma_stats *stats)
{
	if (stats) *stats = (struct audio_dma_stats){0};
}

uint32_t audio_in_get_missed_event_count(void)
{
	return 0;
}
```

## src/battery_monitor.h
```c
/* SPDX-License-Identifier: Apache-2.0 */
#ifndef BATTERY_MONITOR_H_
#define BATTERY_MONITOR_H_

#include <stdbool.h>
#include <stdint.h>

/* Independent validity bits prevent a partial measurement from being
 * mistaken for a complete fuel-gauge snapshot. */
#define BATTERY_VALID_VOLTAGE             (1U << 0)
#define BATTERY_VALID_CURRENT             (1U << 1)
#define BATTERY_VALID_REMAINING_CAPACITY  (1U << 2)
#define BATTERY_VALID_FULL_CAPACITY       (1U << 3)
#define BATTERY_VALID_AVERAGE_CURRENT     (1U << 4)
#define BATTERY_VALID_TIME_TO_EMPTY       (1U << 5)
#define BATTERY_VALID_AVERAGE_POWER       (1U << 6)
#define BATTERY_VALID_TEMPERATURE         (1U << 7)

enum battery_measurement_source {
	BATTERY_SOURCE_UNAVAILABLE = 0,
	BATTERY_SOURCE_BQ34110,
	BATTERY_SOURCE_ADC_VOLTAGE,
};

struct battery_status {
	uint32_t voltage_mv;
	int32_t current_ma;
	uint32_t remaining_capacity_mah;
	uint32_t full_charge_capacity_mah;
	int32_t average_current_ma;
	uint32_t time_to_empty_seconds;
	int32_t average_power_mw;
	int32_t temperature_celsius;
	uint32_t valid_fields;
	bool valid_measurement;
	int64_t last_update_timestamp;
	enum battery_measurement_source measurement_source;
};

/* The default snapshot has no valid measurements. A hardware backend may
 * publish updates from a thread or work queue; callers receive a coherent copy. */
void battery_monitor_get_status(struct battery_status *status);
void battery_monitor_publish_status(const struct battery_status *status);
void battery_monitor_clear_status(void);
int battery_monitor_init(void);
void battery_monitor_log_boot_status(void);
void battery_monitor_suspend(void);
void battery_monitor_resume(void);

#endif /* BATTERY_MONITOR_H_ */
```
